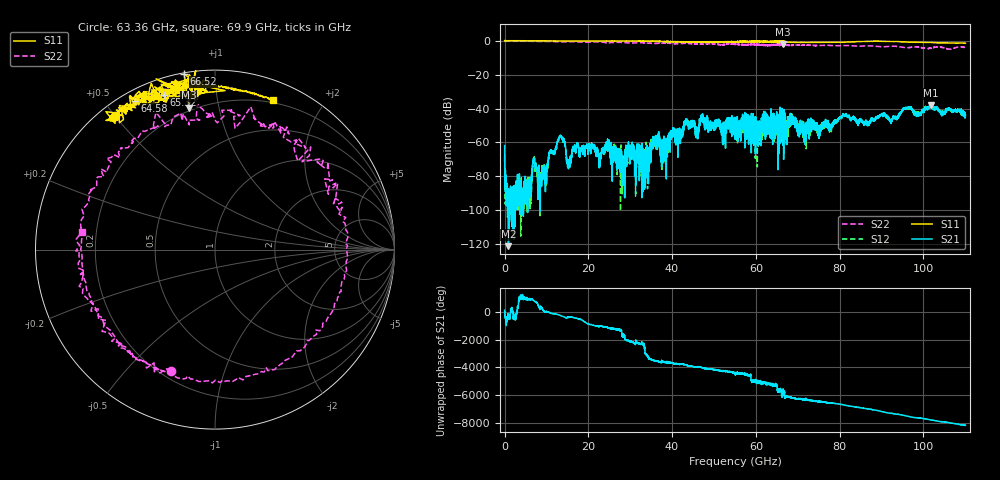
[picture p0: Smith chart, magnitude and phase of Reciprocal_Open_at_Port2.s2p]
#  HZ  S  RI  R  50.00
! Rohde & Schwarz ZVA67 4Ports - Version 4.11 - 1305.7002k04 SN: 101032
! Date: 2026-02-18 15:46:25
! Measurements: S11 S21 S12 S22
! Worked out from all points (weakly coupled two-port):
!   5500 points, 20 MHz to 110 GHz, reference 50 ohm
!   highest |S21| = -38.15 dB at 101.7 GHz (marker M1); lowest = -121.1 dB at 940 MHz (marker M2)
!   lowest |S11| = -1.9 dB at 66.5 GHz (marker M3), VSWR 9.19, Z = 9.12 + j40.7 ohm
!   |S11| at or under -10 dB: nowhere
!   |S22| runs from -5.0 to 0.2 dB; largest |S21 - S12| = 0.0099
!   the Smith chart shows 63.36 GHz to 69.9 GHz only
!   S11 on the Smith chart (normalised r, x): 63.36 GHz: 0.04, +0.50; 64.58 GHz: 0.04, +0.60; 65.32 GHz: 0.07, +0.72; 66.52 GHz: 0.01, +0.84; 69.9 GHz: 0.18, +1.44
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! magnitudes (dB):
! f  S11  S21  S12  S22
! 20 MHz  0.0  -61.8  -68.3  0.2
! 940 MHz  0.0  -121.1  -96.0  0.0
! 8.8 GHz  -0.1  -80.5  -79.9  -0.5
! 13.28 GHz  -0.2  -56.0  -56.3  -0.6
! 15.3 GHz  -0.2  -74.1  -71.5  -0.6
! 18.36 GHz  -0.2  -63.9  -64.6  -0.8
! 24.72 GHz  -0.1  -62.5  -63.3  -1.1
! 28.12 GHz  -0.1  -79.6  -75.1  -1.0
! 30 GHz  -0.2  -63.0  -62.0  -1.3
! 36.68 GHz  -0.4  -55.3  -57.8  -1.5
! 47.26 GHz  -0.8  -43.0  -45.2  -2.0
! 55.02 GHz  -0.6  -45.2  -53.4  -1.8
! 63.36 GHz  -0.6  -45.7  -50.3  -2.8
! 64.58 GHz  -0.5  -57.7  -52.8  -2.5
! 65.32 GHz  -0.8  -51.3  -59.0  -2.6
! 66.5 GHz  -1.9  -49.4  -50.3  -2.6
! 66.52 GHz  -0.1  -40.5  -49.5  -2.2
! 69.9 GHz  -1.0  -50.6  -50.6  -2.5
! 73.34 GHz  -1.0  -50.6  -50.0  -2.7
! 91.68 GHz  -0.4  -45.9  -46.0  -3.3
! 101.7 GHz  -1.1  -38.1  -38.6  -4.4
! 110 GHz  -1.5  -43.9  -43.2  -4.1
